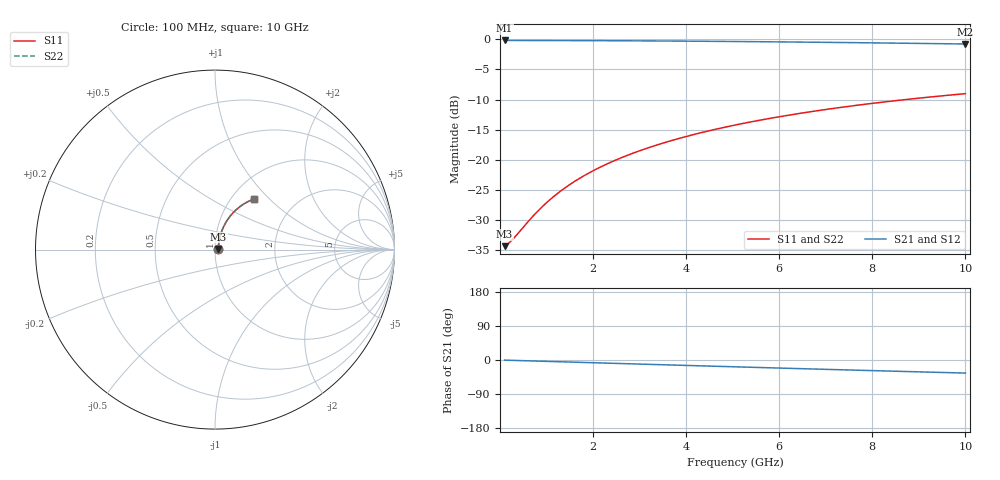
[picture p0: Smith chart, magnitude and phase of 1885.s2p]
# Hz S RI R 50.00
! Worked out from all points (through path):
!   100 points, 100 MHz to 10 GHz, reference 50 ohm
!   highest |S21| = -0.16 dB at 100 MHz (marker M1); lowest = -0.8 dB at 10 GHz (marker M2)
!   group delay of S21, straight-line fit = 9.61 ps
!   lowest |S11| = -34.4 dB at 100 MHz (marker M3), VSWR 1.04, Z = 51.9 + j0.396 ohm
!   |S11| at or under -10 dB: start of sweep to 8.729 GHz
!   |S22| runs from -34.4 to -9.0 dB; largest |S21 - S12| = 0
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1e8  0.0186 0.00382  0.9814 -0.00618  0.9814 -0.00618  0.0186 0.00382
2e8  0.0188 0.00763  0.9812 -0.0124  0.9812 -0.0124  0.0188 0.00763
3e8  0.019 0.0114  0.981 -0.0185  0.981 -0.0185  0.019 0.0114
7e8  0.0202 0.0266  0.9797 -0.0432  0.9797 -0.0432  0.0202 0.0266
8e8  0.0206 0.0304  0.9792 -0.0493  0.9792 -0.0493  0.0206 0.0304
1e9  0.0215 0.038  0.9782 -0.0616  0.9782 -0.0616  0.0215 0.038
1.2e9  0.0227 0.0455  0.9769 -0.0739  0.9769 -0.0739  0.0227 0.0455
1.4e9  0.024 0.053  0.9755 -0.0861  0.9755 -0.0861  0.024 0.053
1.6e9  0.0254 0.0604  0.9738 -0.0982  0.9738 -0.0982  0.0254 0.0604
1.8e9  0.0271 0.0678  0.9719 -0.1104  0.9719 -0.1104  0.0271 0.0678
2.1e9  0.0299 0.0788  0.9688 -0.1285  0.9688 -0.1285  0.0299 0.0788
2.5e9  0.0343 0.0933  0.9638 -0.1524  0.9638 -0.1524  0.0343 0.0933
2.9e9  0.0394 0.1075  0.9581 -0.1761  0.9581 -0.1761  0.0394 0.1075
3.4e9  0.0467 0.1247  0.9499 -0.2052  0.9499 -0.2052  0.0467 0.1247
3.8e9  0.0533 0.1381  0.9425 -0.2281  0.9425 -0.2281  0.0533 0.1381
4.2e9  0.0605 0.1512  0.9344 -0.2506  0.9344 -0.2506  0.0605 0.1512
5.1e9  0.0789 0.1788  0.9136 -0.2996  0.9136 -0.2996  0.0789 0.1788
5.9e9  0.0974 0.2013  0.8926 -0.3412  0.8926 -0.3412  0.0974 0.2013
6.7e9  0.1178 0.2217  0.8693 -0.3807  0.8693 -0.3807  0.1178 0.2217
7.5e9  0.1396 0.2398  0.8441 -0.4179  0.8441 -0.4179  0.1396 0.2398
8.4e9  0.1658 0.2573  0.8137 -0.4571  0.8137 -0.4571  0.1658 0.2573
1e10  0.2148 0.281  0.7559 -0.5194  0.7559 -0.5194  0.2148 0.281
